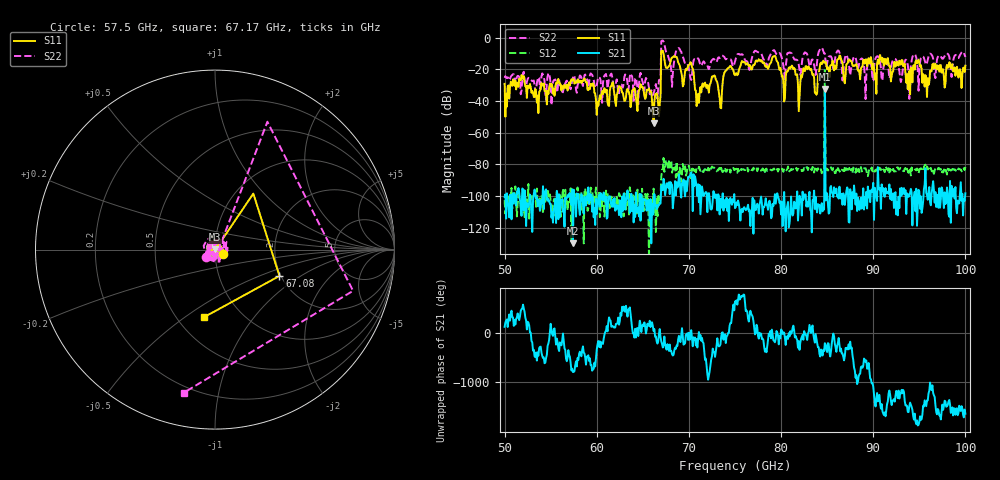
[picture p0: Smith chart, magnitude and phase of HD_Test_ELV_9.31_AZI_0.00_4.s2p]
! 11/25/2026 9:11:56 AM
! C:\ANRITSUVNA\TEMP\TEMP.S2P
! CHANNEL.1
! TR.MEASUREMENT
! RAW.DATA
# HZ S RI R 50.0
! FREQ.HZ  S11RE  S11IM  S21RE  S21IM  S12RE  S12IM  S22RE  S22IM
!; PortSelection: Port_12
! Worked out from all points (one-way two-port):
!   601 points, 50 GHz to 100 GHz, reference 50 ohm
!   highest |S21| = -32.49 dB at 84.75 GHz (marker M1); lowest = -130.0 dB at 57.42 GHz (marker M2)
!   lowest |S11| = -54.1 dB at 66.17 GHz (marker M3), VSWR 1.00, Z = 50.1 + j0.156 ohm
!   |S11| at or under -10 dB: start of sweep to 67 GHz; 67.24 GHz to end of sweep
!   |S22| runs from -42.7 to -1.8 dB; largest |S21 - S12| = 0.12
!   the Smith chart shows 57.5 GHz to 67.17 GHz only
!   S11 on the Smith chart (normalised r, x): 57.5 GHz: 1.09, -0.05; 67.08 GHz: 1.97, -0.68; 67.17 GHz: 0.67, -0.59
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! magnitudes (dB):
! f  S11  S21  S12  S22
! 50 GHz  -29.2  -100.6  -102.7  -25.3
! 57.42 GHz  -26.3  -130.0  -101.7  -25.2
! 57.5 GHz  -26.2  -96.1  -100.8  -23.7
! 58.42 GHz  -27.2  -100.7  -103.2  -29.0
! 60.17 GHz  -43.0  -101.8  -103.6  -24.8
! 61.67 GHz  -28.7  -106.9  -101.1  -24.5
! 66.17 GHz  -54.1  -110.6  -95.4  -35.3
! 66.67 GHz  -41.9  -106.3  -100.1  -32.1
! 67.08 GHz  -8.2  -93.2  -83.4  -1.9
! 67.17 GHz  -8.3  -96.4  -83.2  -1.8
! 70.17 GHz  -15.5  -86.4  -84.7  -25.7
! 70.92 GHz  -40.7  -99.9  -83.5  -13.3
! 75 GHz  -23.7  -107.7  -82.9  -15.0
! 79.25 GHz  -11.8  -103.3  -82.8  -7.9
! 80.25 GHz  -27.5  -104.6  -84.8  -17.7
! 83.42 GHz  -23.7  -102.7  -81.7  -13.8
! 84.75 GHz  -15.4  -32.5  -20.6  -10.0
! 91.67 GHz  -16.6  -98.7  -82.5  -20.5
! 93.75 GHz  -32.6  -98.9  -84.3  -17.3
! 94.83 GHz  -15.0  -106.0  -83.1  -20.3
! 95.83 GHz  -37.5  -99.4  -81.4  -15.9
! 100 GHz  -17.7  -98.3  -81.7  -12.2
